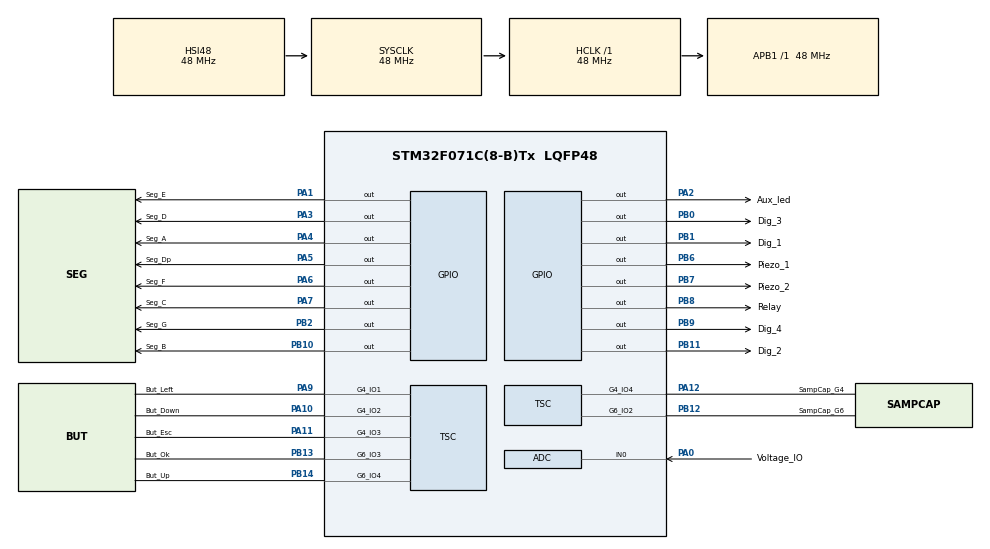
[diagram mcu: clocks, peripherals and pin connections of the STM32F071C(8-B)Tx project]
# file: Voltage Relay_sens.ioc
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ADC.ClockPrescaler=ADC_CLOCK_ASYNC_DIV1
ADC.ContinuousConvMode=DISABLE
ADC.DMAContinuousRequests=ENABLE
ADC.DataAlign=ADC_DATAALIGN_RIGHT
ADC.DiscontinuousConvMode=DISABLE
ADC.EOCSelection=ADC_EOC_SINGLE_CONV
ADC.EnableAnalogWatchDog=false
ADC.ExternalTrigConv=ADC_SOFTWARE_START
ADC.ExternalTrigConvEdge=ADC_EXTERNALTRIGCONVEDGE_NONE
ADC.LowPowerAutoPowerOff=DISABLE
ADC.LowPowerAutoWait=DISABLE
ADC.Overrun=ADC_OVR_DATA_PRESERVED
ADC.Resolution=ADC_RESOLUTION_12B
ADC.SamplingTime=ADC_SAMPLETIME_55CYCLES_5
ADC.ScanConvMode=ADC_SCAN_DIRECTION_FORWARD
Dma.ADC.0.Direction=DMA_PERIPH_TO_MEMORY
Dma.ADC.0.Instance=DMA1_Channel1
Dma.ADC.0.MemDataAlignment=DMA_MDATAALIGN_WORD
Dma.ADC.0.MemInc=DMA_MINC_ENABLE
Dma.ADC.0.Mode=DMA_CIRCULAR
Dma.ADC.0.PeriphDataAlignment=DMA_PDATAALIGN_HALFWORD
Dma.ADC.0.PeriphInc=DMA_PINC_DISABLE
Dma.ADC.0.Priority=DMA_PRIORITY_LOW
Dma.Request0=ADC
Mcu.Family=STM32F0
Mcu.Name=STM32F071C(8-B)Tx
Mcu.Package=LQFP48
NVIC.DMA1_Channel1_IRQn=true\:0\:0\:false\:false\:true\:false
NVIC.TIM1_BRK_UP_TRG_COM_IRQn=true\:0\:0\:false\:false\:true\:true
NVIC.TIM6_DAC_IRQn=true\:1\:0\:true\:true\:true\:1\:true
NVIC.TSC_IRQn=true\:1\:0\:true\:true\:true\:2\:true
PA0.GPIO_Label=Voltage_IO
PA0.Mode=IN0
PA0.Signal=ADC_IN0
PA1.GPIO_Label=Seg_E
PA1.PinState=GPIO_PIN_SET
PA1.Signal=GPIO_Output
PA10.GPIO_Label=But_Down
PA10.Mode=G4_IO2-Channel
PA10.Signal=TSC_G4_IO2
PA11.GPIO_Label=But_Esc
PA11.Mode=G4_IO3-Channel
PA11.Signal=TSC_G4_IO3
PA12.GPIO_Label=SampCap_G4
PA12.Mode=G4_IO4-Sampling
PA12.Signal=TSC_G4_IO4
PA2.GPIO_Label=Aux_led
PA2.PinState=GPIO_PIN_SET
PA2.Signal=GPIO_Output
PA3.GPIO_Label=Seg_D
PA3.PinState=GPIO_PIN_SET
PA3.Signal=GPIO_Output
PA4.GPIO_Label=Seg_A
PA4.PinState=GPIO_PIN_SET
PA4.Signal=GPIO_Output
PA5.GPIO_Label=Seg_Dp
PA5.PinState=GPIO_PIN_SET
PA5.Signal=GPIO_Output
PA6.GPIO_Label=Seg_F
PA6.PinState=GPIO_PIN_SET
PA6.Signal=GPIO_Output
PA7.GPIO_Label=Seg_C
PA7.PinState=GPIO_PIN_SET
PA7.Signal=GPIO_Output
PA9.GPIO_Label=But_Left
PA9.Mode=G4_IO1-Channel
PA9.Signal=TSC_G4_IO1
PB0.GPIO_Label=Dig_3
PB0.PinState=GPIO_PIN_SET
PB0.Signal=GPIO_Output
PB1.GPIO_Label=Dig_1
PB1.PinState=GPIO_PIN_SET
PB1.Signal=GPIO_Output
PB10.GPIO_Label=Seg_B
PB10.PinState=GPIO_PIN_SET
PB10.Signal=GPIO_Output
PB11.GPIO_Label=Dig_2
PB11.PinState=GPIO_PIN_SET
PB11.Signal=GPIO_Output
PB12.GPIO_Label=SampCap_G6
PB12.Mode=G6_IO2-Sampling
PB12.Signal=TSC_G6_IO2
PB13.GPIO_Label=But_Ok
PB13.Mode=G6_IO3-Channel
PB13.Signal=TSC_G6_IO3
PB14.GPIO_Label=But_Up
PB14.Mode=G6_IO4-Channel
PB14.Signal=TSC_G6_IO4
PB2.GPIO_Label=Seg_G
PB2.PinState=GPIO_PIN_SET
PB2.Signal=GPIO_Output
PB6.GPIO_Label=Piezo_1
PB6.PinState=GPIO_PIN_RESET
PB6.Signal=GPIO_Output
PB7.GPIO_Label=Piezo_2
PB7.PinState=GPIO_PIN_RESET
PB7.Signal=GPIO_Output
PB8.GPIO_Label=Relay
PB8.PinState=GPIO_PIN_SET
PB8.Signal=GPIO_Output
PB9.GPIO_Label=Dig_4
PB9.PinState=GPIO_PIN_SET
PB9.Signal=GPIO_Output
ProjectManager.HeapSize=0x400
ProjectManager.StackSize=0x600
ProjectManager.TargetToolchain=MDK-ARM V5
RCC.AHBFreq_Value=48000000
RCC.APB1Freq_Value=48000000
RCC.APB1TimFreq_Value=48000000
RCC.HCLKFreq_Value=48000000
RCC.PLLMUL=RCC_PLL_MUL6
RCC.SYSCLKFreq_VALUE=48000000
RCC.SYSCLKSource=RCC_SYSCLKSOURCE_HSI48
TIM1.ClockDivision=TIM_CLOCKDIVISION_DIV2
TIM1.Period=1
TIM1.Prescaler=24000
TIM1.RepetitionCounter=0
TIM1.TIM_MasterOutputTrigger=TIM_TRGO_UPDATE
TIM1.TIM_MasterSlaveMode=TIM_MASTERSLAVEMODE_DISABLE
TIM6.Period=1
TIM6.Prescaler=2000
TIM6.TIM_MasterOutputTrigger=TIM_TRGO_UPDATE
TSC.CTPulseHighLength=TSC_CTPH_1CYCLE
TSC.CTPulseLowLength=TSC_CTPL_1CYCLE
TSC.ChannelIOs-G4_IO1=TSC_GROUP4_IO1
TSC.ChannelIOs-G4_IO2=TSC_GROUP4_IO2
TSC.ChannelIOs-G4_IO3=TSC_GROUP4_IO3
TSC.ChannelIOs-G6_IO3=TSC_GROUP6_IO3
TSC.ChannelIOs-G6_IO4=TSC_GROUP6_IO4
TSC.MaxCountValue=TSC_MCV_1023
TSC.PulseGeneratorPrescaler=TSC_PG_PRESC_DIV64
TSC.SamplingIOs-G4_IO4=TSC_GROUP4_IO4
TSC.SamplingIOs-G6_IO2=TSC_GROUP6_IO2
TSC.SpreadSpectrum=ENABLE
TSC.SpreadSpectrumDeviation=1
VP_TIM1_VS_ClockSourceINT.Mode=Internal
VP_TIM6_VS_ClockSourceINT.Mode=Enable_Timer
board=Voltage Relay_sens

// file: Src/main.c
/**
  ******************************************************************************
  * @file           : main.c
  * @brief          : Main program body
  ******************************************************************************
  ** This notice applies to any and all portions of this file
  * that are not between comment pairs USER CODE BEGIN and
  * USER CODE END. Other portions of this file, whether
  * inserted by the user or by software development tools
  * are owned by their respective copyright owners.
  *
  * COPYRIGHT(c) 2018 STMicroelectronics
  *
  * Redistribution and use in source and binary forms, with or without modification,
  * are permitted provided that the following conditions are met:
  *   1. Redistributions of source code must retain the above copyright notice,
  *      this list of conditions and the following disclaimer.
  *   2. Redistributions in binary form must reproduce the above copyright notice,
  *      this list of conditions and the following disclaimer in the documentation
  *      and/or other materials provided with the distribution.
  *   3. Neither the name of STMicroelectronics nor the names of its contributors
  *      may be used to endorse or promote products derived from this software
  *      without specific prior written permission.
  *
  * THIS SOFTWARE IS PROVIDED BY THE COPYRIGHT HOLDERS AND CONTRIBUTORS "AS IS"
  * AND ANY EXPRESS OR IMPLIED WARRANTIES, INCLUDING, BUT NOT LIMITED TO, THE
  * IMPLIED WARRANTIES OF MERCHANTABILITY AND FITNESS FOR A PARTICULAR PURPOSE ARE
  * DISCLAIMED. IN NO EVENT SHALL THE COPYRIGHT HOLDER OR CONTRIBUTORS BE LIABLE
  * FOR ANY DIRECT, INDIRECT, INCIDENTAL, SPECIAL, EXEMPLARY, OR CONSEQUENTIAL
  * DAMAGES (INCLUDING, BUT NOT LIMITED TO, PROCUREMENT OF SUBSTITUTE GOODS OR
  * SERVICES; LOSS OF USE, DATA, OR PROFITS; OR BUSINESS INTERRUPTION) HOWEVER
  * CAUSED AND ON ANY THEORY OF LIABILITY, WHETHER IN CONTRACT, STRICT LIABILITY,
  * OR TORT (INCLUDING NEGLIGENCE OR OTHERWISE) ARISING IN ANY WAY OUT OF THE USE
  * OF THIS SOFTWARE, EVEN IF ADVISED OF THE POSSIBILITY OF SUCH DAMAGE.
  *
  ******************************************************************************
  */
#include "main.h"
#include "stm32f0xx_hal.h"

/* USER CODE BEGIN Includes */
#include "tsl_user.h"
#include "main_state_machine.h"
#include "alarms_events.h"
#include "eeprom_user.h"
#include "Screen.h"
#include "stdio.h"
/* USER CODE END Includes */

ADC_HandleTypeDef hadc;
DMA_HandleTypeDef hdma_adc;

TIM_HandleTypeDef htim1;
TIM_HandleTypeDef htim6;

TSC_HandleTypeDef htsc;

/* USER CODE BEGIN PV */
/* Private variables ---------------------------------------------------------*/
extern Voltage_Relay_Executor Main_State_Machine;
extern Event_Check<voltage_relay,VPTR> Volt_relay_Event_Check;
extern Flash_Data EEPROM_DATA[NB_OF_VAR];
extern Screen scr;
MAINPTR PTR_TO_MAIN = _MAIN_FUNC;
/* USER CODE END PV */

void SystemClock_Config(void);
static void MX_GPIO_Init(void);
static void MX_DMA_Init(void);
static void MX_TSC_Init(void);
static void MX_TIM6_Init(void);
static void MX_ADC_Init(void);
static void MX_TIM1_Init(void);
static void MX_NVIC_Init(void);

/* USER CODE BEGIN PFP */
/* Private function prototypes -----------------------------------------------*/
void power();
void ProcessSensors();
/* USER CODE END PFP */

int main(void)
{

  /* MCU Configuration----------------------------------------------------------*/

  /* Reset of all peripherals, Initializes the Flash interface and the Systick. */
  HAL_Init();

  /* Configure the system clock */
  SystemClock_Config();

  /* Initialize all configured peripherals */
  MX_GPIO_Init();
  MX_DMA_Init();
  MX_TSC_Init();
  MX_TIM6_Init();
  MX_ADC_Init();
  MX_TIM1_Init();

  /* Initialize interrupts */
  MX_NVIC_Init();
  /* USER CODE BEGIN 2 */
	HAL_ADCEx_Calibration_Start(&hadc);
	TSL_user_Init();
	Main_State_Machine.push(&Volt_relay_Event_Check);
	EE_Init();
	Write_Default_Data(EEPROM_DATA);
	HAL_TIM_Base_Start_IT(&htim6);
	HAL_TIM_Base_Start_IT(&htim1);
	//HAL_ADC_Start(&hadc);
	power();

  /* USER CODE END 2 */

  /* Infinite loop */
  /* USER CODE BEGIN WHILE */
		_MAIN_FUNC();

  /* USER CODE END WHILE */

}

void SystemClock_Config(void)
{

  RCC_OscInitTypeDef RCC_OscInitStruct;
  RCC_ClkInitTypeDef RCC_ClkInitStruct;

    /**Initializes the CPU, AHB and APB busses clocks
    */
  RCC_OscInitStruct.OscillatorType = RCC_OSCILLATORTYPE_HSI14|RCC_OSCILLATORTYPE_HSI48;
  RCC_OscInitStruct.HSI48State = RCC_HSI48_ON;
  RCC_OscInitStruct.HSI14State = RCC_HSI14_ON;
  RCC_OscInitStruct.HSI14CalibrationValue = 16;
  RCC_OscInitStruct.PLL.PLLState = RCC_PLL_NONE;
  if (HAL_RCC_OscConfig(&RCC_OscInitStruct) != HAL_OK)
  {
    _Error_Handler(__FILE__, __LINE__);
  }

    /**Initializes the CPU, AHB and APB busses clocks
    */
  RCC_ClkInitStruct.ClockType = RCC_CLOCKTYPE_HCLK|RCC_CLOCKTYPE_SYSCLK
                              |RCC_CLOCKTYPE_PCLK1;
  RCC_ClkInitStruct.SYSCLKSource = RCC_SYSCLKSOURCE_HSI48;
  RCC_ClkInitStruct.AHBCLKDivider = RCC_SYSCLK_DIV1;
  RCC_ClkInitStruct.APB1CLKDivider = RCC_HCLK_DIV1;

  if (HAL_RCC_ClockConfig(&RCC_ClkInitStruct, FLASH_LATENCY_1) != HAL_OK)
  {
    _Error_Handler(__FILE__, __LINE__);
  }

    /**Configure the Systick interrupt time
    */
  HAL_SYSTICK_Config(HAL_RCC_GetHCLKFreq()/1000);

    /**Configure the Systick
    */
  HAL_SYSTICK_CLKSourceConfig(SYSTICK_CLKSOURCE_HCLK);

  /* SysTick_IRQn interrupt configuration */
  HAL_NVIC_SetPriority(SysTick_IRQn, 2, 0);
}

/**
  * @brief NVIC Configuration.
  * @retval None
  */
static void MX_NVIC_Init(void)
{
  /* TIM6_DAC_IRQn interrupt configuration */
  HAL_NVIC_SetPriority(TIM6_DAC_IRQn, 1, 0);
  HAL_NVIC_EnableIRQ(TIM6_DAC_IRQn);
  /* TSC_IRQn interrupt configuration */
  HAL_NVIC_SetPriority(TSC_IRQn, 1, 0);
  HAL_NVIC_EnableIRQ(TSC_IRQn);
}

/* ADC init function */
static void MX_ADC_Init(void)
{

  ADC_ChannelConfTypeDef sConfig;

    /**Configure the global features of the ADC (Clock, Resolution, Data Alignment and number of conversion)
    */
  hadc.Instance = ADC1;
  hadc.Init.ClockPrescaler = ADC_CLOCK_ASYNC_DIV1;
  hadc.Init.Resolution = ADC_RESOLUTION_12B;
  hadc.Init.DataAlign = ADC_DATAALIGN_RIGHT;
  hadc.Init.ScanConvMode = ADC_SCAN_DIRECTION_FORWARD;
  hadc.Init.EOCSelection = ADC_EOC_SINGLE_CONV;
  hadc.Init.LowPowerAutoWait = DISABLE;
  hadc.Init.LowPowerAutoPowerOff = DISABLE;
  hadc.Init.ContinuousConvMode = DISABLE;
  hadc.Init.DiscontinuousConvMode = DISABLE;
  hadc.Init.ExternalTrigConv = ADC_SOFTWARE_START;
  hadc.Init.ExternalTrigConvEdge = ADC_EXTERNALTRIGCONVEDGE_NONE;
  hadc.Init.DMAContinuousRequests = ENABLE;
  hadc.Init.Overrun = ADC_OVR_DATA_PRESERVED;
  if (HAL_ADC_Init(&hadc) != HAL_OK)
  {
    _Error_Handler(__FILE__, __LINE__);
  }

    /**Configure for the selected ADC regular channel to be converted.
    */
  sConfig.Channel = ADC_CHANNEL_0;
  sConfig.Rank = ADC_RANK_CHANNEL_NUMBER;
  sConfig.SamplingTime = ADC_SAMPLETIME_55CYCLES_5;
  if (HAL_ADC_ConfigChannel(&hadc, &sConfig) != HAL_OK)
  {
    _Error_Handler(__FILE__, __LINE__);
  }

}

/* TIM1 init function */
static void MX_TIM1_Init(void)
{

  TIM_ClockConfigTypeDef sClockSourceConfig;
  TIM_MasterConfigTypeDef sMasterConfig;

  htim1.Instance = TIM1;
  htim1.Init.Prescaler = 24000;
  htim1.Init.CounterMode = TIM_COUNTERMODE_UP;
  htim1.Init.Period = 1;
  htim1.Init.ClockDivision = TIM_CLOCKDIVISION_DIV2;
  htim1.Init.RepetitionCounter = 0;
  htim1.Init.AutoReloadPreload = TIM_AUTORELOAD_PRELOAD_DISABLE;
  if (HAL_TIM_Base_Init(&htim1) != HAL_OK)
  {
    _Error_Handler(__FILE__, __LINE__);
  }

  sClockSourceConfig.ClockSource = TIM_CLOCKSOURCE_INTERNAL;
  if (HAL_TIM_ConfigClockSource(&htim1, &sClockSourceConfig) != HAL_OK)
  {
    _Error_Handler(__FILE__, __LINE__);
  }

  sMasterConfig.MasterOutputTrigger = TIM_TRGO_UPDATE;
  sMasterConfig.MasterSlaveMode = TIM_MASTERSLAVEMODE_DISABLE;
  if (HAL_TIMEx_MasterConfigSynchronization(&htim1, &sMasterConfig) != HAL_OK)
  {
    _Error_Handler(__FILE__, __LINE__);
  }

}

/* TIM6 init function */
static void MX_TIM6_Init(void)
{

  TIM_MasterConfigTypeDef sMasterConfig;

  htim6.Instance = TIM6;
  htim6.Init.Prescaler = 2000;
  htim6.Init.CounterMode = TIM_COUNTERMODE_UP;
  htim6.Init.Period = 1;
  htim6.Init.AutoReloadPreload = TIM_AUTORELOAD_PRELOAD_DISABLE;
  if (HAL_TIM_Base_Init(&htim6) != HAL_OK)
  {
    _Error_Handler(__FILE__, __LINE__);
  }

  sMasterConfig.MasterOutputTrigger = TIM_TRGO_UPDATE;
  sMasterConfig.MasterSlaveMode = TIM_MASTERSLAVEMODE_DISABLE;
  if (HAL_TIMEx_MasterConfigSynchronization(&htim6, &sMasterConfig) != HAL_OK)
  {
    _Error_Handler(__FILE__, __LINE__);
  }

}

/* TSC init function */
static void MX_TSC_Init(void)
{

    /**Configure the TSC peripheral
    */
  htsc.Instance = TSC;
  htsc.Init.CTPulseHighLength = TSC_CTPH_1CYCLE;
  htsc.Init.CTPulseLowLength = TSC_CTPL_1CYCLE;
  htsc.Init.SpreadSpectrum = ENABLE;
  htsc.Init.SpreadSpectrumDeviation = 1;
  htsc.Init.SpreadSpectrumPrescaler = TSC_SS_PRESC_DIV1;
  htsc.Init.PulseGeneratorPrescaler = TSC_PG_PRESC_DIV64;
  htsc.Init.MaxCountValue = TSC_MCV_1023;
  htsc.Init.IODefaultMode = TSC_IODEF_OUT_PP_LOW;
  htsc.Init.SynchroPinPolarity = TSC_SYNC_POLARITY_FALLING;
  htsc.Init.AcquisitionMode = TSC_ACQ_MODE_NORMAL;
  htsc.Init.MaxCountInterrupt = DISABLE;
  htsc.Init.ChannelIOs = TSC_GROUP4_IO1|TSC_GROUP4_IO2|TSC_GROUP4_IO3|TSC_GROUP6_IO3
                    |TSC_GROUP6_IO4;
  htsc.Init.ShieldIOs = 0;
  htsc.Init.SamplingIOs = TSC_GROUP4_IO4|TSC_GROUP6_IO2;
  if (HAL_TSC_Init(&htsc) != HAL_OK)
  {
    _Error_Handler(__FILE__, __LINE__);
  }

}

static void MX_DMA_Init(void)
{
  /* DMA controller clock enable */
  __HAL_RCC_DMA1_CLK_ENABLE();

  /* DMA interrupt init */
  /* DMA1_Channel1_IRQn interrupt configuration */
  HAL_NVIC_SetPriority(DMA1_Channel1_IRQn, 1, 0);
  HAL_NVIC_EnableIRQ(DMA1_Channel1_IRQn);

}

/** Configure pins as
        * Analog
        * Input
        * Output
        * EVENT_OUT
        * EXTI
*/
static void MX_GPIO_Init(void)
{

  GPIO_InitTypeDef GPIO_InitStruct;

  /* GPIO Ports Clock Enable */
  __HAL_RCC_GPIOA_CLK_ENABLE();
  __HAL_RCC_GPIOB_CLK_ENABLE();

  /*Configure GPIO pin Output Level */
  HAL_GPIO_WritePin(GPIOA, Seg_E_Pin|Aux_led_Pin|Seg_D_Pin|Seg_A_Pin
                          |Seg_Dp_Pin|Seg_F_Pin|Seg_C_Pin, GPIO_PIN_SET);

  /*Configure GPIO pin Output Level */
  HAL_GPIO_WritePin(GPIOB, Dig_3_Pin|Dig_1_Pin|Seg_G_Pin|Seg_B_Pin
                          |Dig_2_Pin|Relay_Pin|Dig_4_Pin, GPIO_PIN_SET);

  /*Configure GPIO pin Output Level */
  HAL_GPIO_WritePin(GPIOB, Piezo_1_Pin|Piezo_2_Pin, GPIO_PIN_RESET);

  /*Configure GPIO pins : Seg_E_Pin Aux_led_Pin Seg_D_Pin Seg_A_Pin
                           Seg_Dp_Pin Seg_F_Pin Seg_C_Pin */
  GPIO_InitStruct.Pin = Seg_E_Pin|Aux_led_Pin|Seg_D_Pin|Seg_A_Pin
                          |Seg_Dp_Pin|Seg_F_Pin|Seg_C_Pin;
  GPIO_InitStruct.Mode = GPIO_MODE_OUTPUT_PP;
  GPIO_InitStruct.Pull = GPIO_NOPULL;
  GPIO_InitStruct.Speed = GPIO_SPEED_FREQ_LOW;
  HAL_GPIO_Init(GPIOA, &GPIO_InitStruct);

  /*Configure GPIO pins : Dig_3_Pin Dig_1_Pin Seg_G_Pin Seg_B_Pin
                           Dig_2_Pin Piezo_1_Pin Piezo_2_Pin Relay_Pin
                           Dig_4_Pin */
  GPIO_InitStruct.Pin = Dig_3_Pin|Dig_1_Pin|Seg_G_Pin|Seg_B_Pin
                          |Dig_2_Pin|Piezo_1_Pin|Piezo_2_Pin|Relay_Pin
                          |Dig_4_Pin;
  GPIO_InitStruct.Mode = GPIO_MODE_OUTPUT_PP;
  GPIO_InitStruct.Pull = GPIO_NOPULL;
  GPIO_InitStruct.Speed = GPIO_SPEED_FREQ_LOW;
  HAL_GPIO_Init(GPIOB, &GPIO_InitStruct);

}

/* USER CODE BEGIN 4 */
/**
  * @brief turns off microcontroller if voltage is low
  * @note
  * @retval none
  */
void power ()
{
	PWR_PVDTypeDef ConfigPVD;
	ConfigPVD.Mode = PWR_PVD_MODE_NORMAL;
	ConfigPVD.PVDLevel = PWR_PVDLEVEL_7;
	HAL_PWR_ConfigPVD(&ConfigPVD);
	HAL_PWR_EnablePVD();
}

/* -------------MAIN FUCNTION---------*/

void	_MAIN_FUNC ()
{
		while (1)
		{
			Main_State_Machine.run_task(); //main state machine execution
			TSL_user_Action();// Execute STMTouch Driver state machine
		}

}

/* USER CODE END 4 */

void _Error_Handler(const char *file, int line)
{
  /* USER CODE BEGIN Error_Handler_Debug */
  /* User can add his own implementation to report the HAL error return state */
  while(1)
  {
		scr << file;
  }
  /* USER CODE END Error_Handler_Debug */
}

/************************ (C) COPYRIGHT STMicroelectronics *****END OF FILE****/
